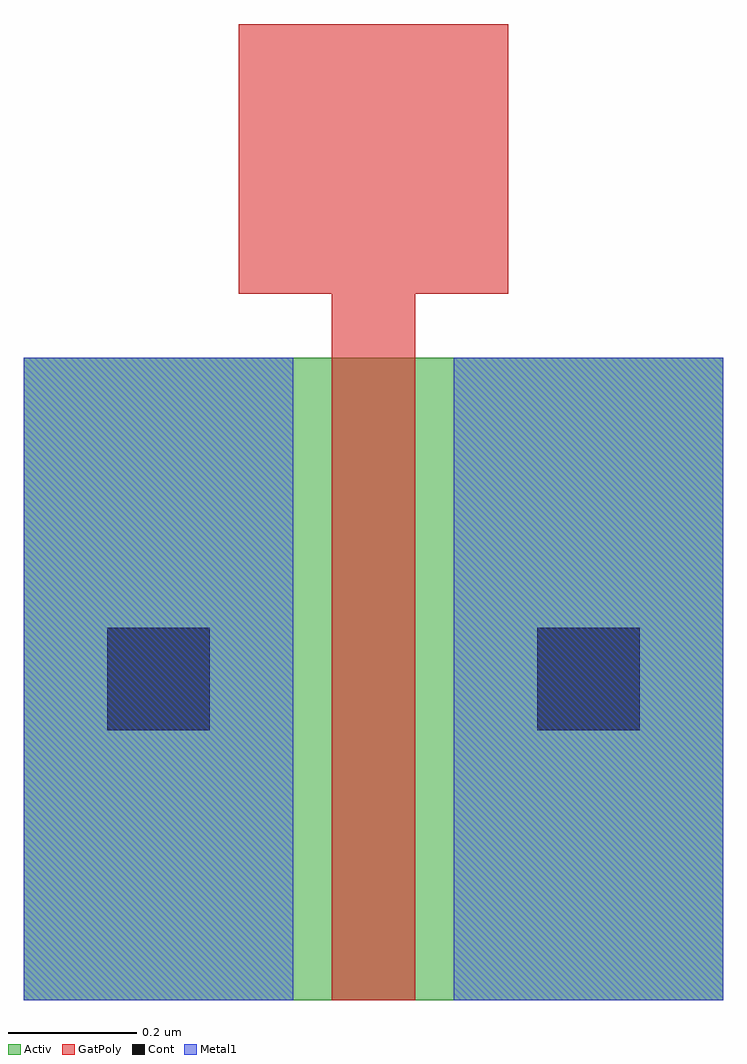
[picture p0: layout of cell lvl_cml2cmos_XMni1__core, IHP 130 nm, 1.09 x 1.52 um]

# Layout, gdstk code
import gdstk
lib = gdstk.Library(unit=1e-6, precision=1e-09)
def R(c, l, rs):  # rectangles x0, y0, x1, y1
    for r in rs: c.add(gdstk.rectangle(r[:2], r[2:], *l))
Activ = (1, 0)
GatPoly = (5, 0)
Cont = (6, 0)
Metal1 = (8, 0)

lvl_cml2cmos_xmni1__core = lib.new_cell('lvl_cml2cmos_XMni1__core')
R(lvl_cml2cmos_xmni1__core, Activ, [(0,0,1.09,1)])
R(lvl_cml2cmos_xmni1__core, GatPoly, [(0.48,0,0.61,1), (0.48,1,0.61,1.1), (0.335,1.1,0.755,1.52)])
R(lvl_cml2cmos_xmni1__core, Cont, [(0.13,0.42,0.29,0.58), (0.8,0.42,0.96,0.58)])
R(lvl_cml2cmos_xmni1__core, Metal1, [(0,0,0.42,1), (0.67,0,1.09,1)])

lib.write_gds('lvl_cml2cmos_XMni1__core.gds')
